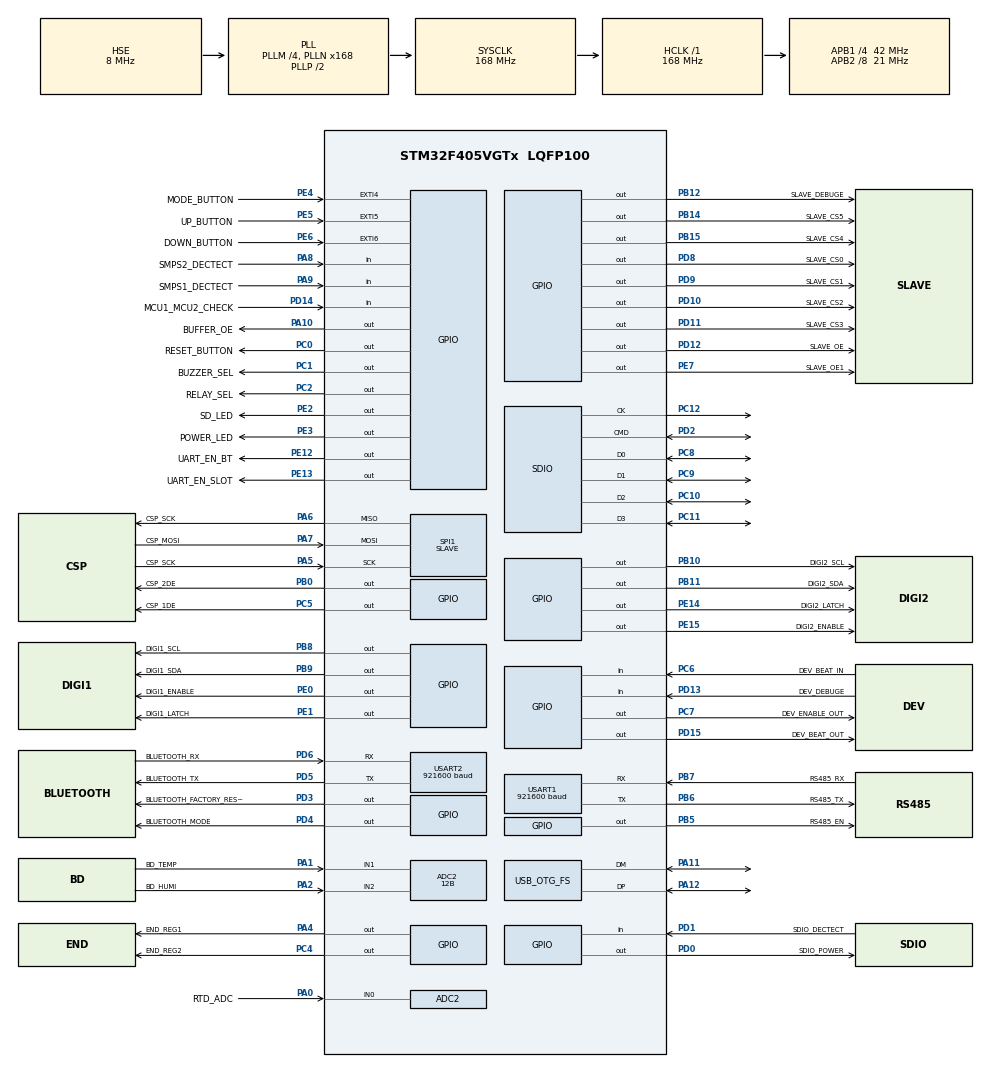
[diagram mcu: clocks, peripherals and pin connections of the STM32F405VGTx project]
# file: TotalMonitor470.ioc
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ADC1.Channel-0\#ChannelRegularConversion=ADC_CHANNEL_VBAT
ADC1.ClockPrescaler=ADC_CLOCK_SYNC_PCLK_DIV4
ADC1.ContinuousConvMode=ENABLE
ADC1.DMAContinuousRequests=ENABLE
ADC1.NbrOfConversion=1
ADC1.NbrOfConversionFlag=1
ADC1.Rank-0\#ChannelRegularConversion=1
ADC1.SamplingTime-0\#ChannelRegularConversion=ADC_SAMPLETIME_3CYCLES
ADC1.ScanConvMode=ENABLE
ADC1.master=1
ADC2.Channel-0\#ChannelRegularConversion=ADC_CHANNEL_0
ADC2.Channel-1\#ChannelRegularConversion=ADC_CHANNEL_1
ADC2.Channel-2\#ChannelRegularConversion=ADC_CHANNEL_2
ADC2.ClockPrescaler=ADC_CLOCK_SYNC_PCLK_DIV4
ADC2.ContinuousConvMode=ENABLE
ADC2.DMAContinuousRequests=ENABLE
ADC2.DataAlign=ADC_DATAALIGN_RIGHT
ADC2.DiscontinuousConvMode=DISABLE
ADC2.EOCSelection=ADC_EOC_SINGLE_CONV
ADC2.EnableAnalogWatchDog=false
ADC2.ExternalTrigConv=ADC_SOFTWARE_START
ADC2.ExternalTrigConvEdge=ADC_EXTERNALTRIGCONVEDGE_NONE
ADC2.InjNumberOfConversion=0
ADC2.NbrOfConversion=3
ADC2.NbrOfConversionFlag=1
ADC2.Rank-0\#ChannelRegularConversion=1
ADC2.Rank-1\#ChannelRegularConversion=2
ADC2.Rank-2\#ChannelRegularConversion=3
ADC2.Resolution=ADC_RESOLUTION_12B
ADC2.SamplingTime-0\#ChannelRegularConversion=ADC_SAMPLETIME_3CYCLES
ADC2.SamplingTime-1\#ChannelRegularConversion=ADC_SAMPLETIME_3CYCLES
ADC2.SamplingTime-2\#ChannelRegularConversion=ADC_SAMPLETIME_3CYCLES
ADC2.ScanConvMode=ENABLE
Dma.ADC1.0.Direction=DMA_PERIPH_TO_MEMORY
Dma.ADC1.0.FIFOMode=DMA_FIFOMODE_DISABLE
Dma.ADC1.0.Instance=DMA2_Stream0
Dma.ADC1.0.MemDataAlignment=DMA_MDATAALIGN_WORD
Dma.ADC1.0.MemInc=DMA_MINC_ENABLE
Dma.ADC1.0.Mode=DMA_NORMAL
Dma.ADC1.0.PeriphDataAlignment=DMA_PDATAALIGN_WORD
Dma.ADC1.0.PeriphInc=DMA_PINC_DISABLE
Dma.ADC1.0.Priority=DMA_PRIORITY_LOW
Dma.ADC2.1.Direction=DMA_PERIPH_TO_MEMORY
Dma.ADC2.1.FIFOMode=DMA_FIFOMODE_DISABLE
Dma.ADC2.1.Instance=DMA2_Stream2
Dma.ADC2.1.MemDataAlignment=DMA_MDATAALIGN_WORD
Dma.ADC2.1.MemInc=DMA_MINC_ENABLE
Dma.ADC2.1.Mode=DMA_CIRCULAR
Dma.ADC2.1.PeriphDataAlignment=DMA_PDATAALIGN_WORD
Dma.ADC2.1.PeriphInc=DMA_PINC_DISABLE
Dma.ADC2.1.Priority=DMA_PRIORITY_LOW
Dma.Request0=ADC1
Dma.Request1=ADC2
Dma.Request2=USART1_TX
Dma.Request3=USART2_RX
Dma.Request4=USART2_TX
Dma.Request5=USART1_RX
Dma.Request6=SDIO_RX
Dma.Request7=SDIO_TX
Dma.SDIO_RX.6.Direction=DMA_PERIPH_TO_MEMORY
Dma.SDIO_RX.6.FIFOMode=DMA_FIFOMODE_ENABLE
Dma.SDIO_RX.6.FIFOThreshold=DMA_FIFO_THRESHOLD_FULL
Dma.SDIO_RX.6.Instance=DMA2_Stream3
Dma.SDIO_RX.6.MemBurst=DMA_MBURST_INC4
Dma.SDIO_RX.6.MemDataAlignment=DMA_MDATAALIGN_WORD
Dma.SDIO_RX.6.MemInc=DMA_MINC_ENABLE
Dma.SDIO_RX.6.Mode=DMA_PFCTRL
Dma.SDIO_RX.6.PeriphBurst=DMA_PBURST_INC4
Dma.SDIO_RX.6.PeriphDataAlignment=DMA_PDATAALIGN_WORD
Dma.SDIO_RX.6.PeriphInc=DMA_PINC_DISABLE
Dma.SDIO_RX.6.Priority=DMA_PRIORITY_LOW
Dma.SDIO_TX.7.Direction=DMA_MEMORY_TO_PERIPH
Dma.SDIO_TX.7.FIFOMode=DMA_FIFOMODE_ENABLE
Dma.SDIO_TX.7.FIFOThreshold=DMA_FIFO_THRESHOLD_FULL
Dma.SDIO_TX.7.Instance=DMA2_Stream6
Dma.SDIO_TX.7.MemBurst=DMA_MBURST_INC4
Dma.SDIO_TX.7.MemDataAlignment=DMA_MDATAALIGN_WORD
Dma.SDIO_TX.7.MemInc=DMA_MINC_ENABLE
Dma.SDIO_TX.7.Mode=DMA_PFCTRL
Dma.SDIO_TX.7.PeriphBurst=DMA_PBURST_INC4
Dma.SDIO_TX.7.PeriphDataAlignment=DMA_PDATAALIGN_WORD
Dma.SDIO_TX.7.PeriphInc=DMA_PINC_DISABLE
Dma.SDIO_TX.7.Priority=DMA_PRIORITY_LOW
Dma.USART1_RX.5.Direction=DMA_PERIPH_TO_MEMORY
Dma.USART1_RX.5.FIFOMode=DMA_FIFOMODE_DISABLE
Dma.USART1_RX.5.Instance=DMA2_Stream5
Dma.USART1_RX.5.MemDataAlignment=DMA_MDATAALIGN_BYTE
Dma.USART1_RX.5.MemInc=DMA_MINC_ENABLE
Dma.USART1_RX.5.Mode=DMA_CIRCULAR
Dma.USART1_RX.5.PeriphDataAlignment=DMA_PDATAALIGN_BYTE
Dma.USART1_RX.5.PeriphInc=DMA_PINC_DISABLE
Dma.USART1_RX.5.Priority=DMA_PRIORITY_LOW
Dma.USART1_TX.2.Direction=DMA_MEMORY_TO_PERIPH
Dma.USART1_TX.2.FIFOMode=DMA_FIFOMODE_DISABLE
Dma.USART1_TX.2.Instance=DMA2_Stream7
Dma.USART1_TX.2.MemDataAlignment=DMA_MDATAALIGN_BYTE
Dma.USART1_TX.2.MemInc=DMA_MINC_ENABLE
Dma.USART1_TX.2.Mode=DMA_NORMAL
Dma.USART1_TX.2.PeriphDataAlignment=DMA_PDATAALIGN_BYTE
Dma.USART1_TX.2.PeriphInc=DMA_PINC_DISABLE
Dma.USART1_TX.2.Priority=DMA_PRIORITY_LOW
Dma.USART2_RX.3.Direction=DMA_PERIPH_TO_MEMORY
Dma.USART2_RX.3.FIFOMode=DMA_FIFOMODE_DISABLE
Dma.USART2_RX.3.Instance=DMA1_Stream5
Dma.USART2_RX.3.MemDataAlignment=DMA_MDATAALIGN_BYTE
Dma.USART2_RX.3.MemInc=DMA_MINC_ENABLE
Dma.USART2_RX.3.Mode=DMA_CIRCULAR
Dma.USART2_RX.3.PeriphDataAlignment=DMA_PDATAALIGN_BYTE
Dma.USART2_RX.3.PeriphInc=DMA_PINC_DISABLE
Dma.USART2_RX.3.Priority=DMA_PRIORITY_LOW
Dma.USART2_TX.4.Direction=DMA_MEMORY_TO_PERIPH
Dma.USART2_TX.4.FIFOMode=DMA_FIFOMODE_DISABLE
Dma.USART2_TX.4.Instance=DMA1_Stream6
Dma.USART2_TX.4.MemDataAlignment=DMA_MDATAALIGN_BYTE
Dma.USART2_TX.4.MemInc=DMA_MINC_ENABLE
Dma.USART2_TX.4.Mode=DMA_NORMAL
Dma.USART2_TX.4.PeriphDataAlignment=DMA_PDATAALIGN_BYTE
Dma.USART2_TX.4.PeriphInc=DMA_PINC_DISABLE
Dma.USART2_TX.4.Priority=DMA_PRIORITY_LOW
FATFS.BSP.number=1
FATFS._CODE_PAGE=949
FATFS._FS_EXFAT=1
FATFS._FS_LOCK=2
FATFS._FS_NORTC=0
FATFS._LFN_UNICODE=0
FATFS._MAX_SS=4096
FATFS._STRF_ENCODE=0
FATFS._USE_FASTSEEK=0
FATFS._USE_FIND=1
FATFS._USE_LFN=2
FATFS0.BSP.STBoard=false
FATFS0.BSP.api=Unknown
FATFS0.BSP.i2caddr=0
FATFS0.BSP.instance=PD1
FATFS0.BSP.ip=GPIO
FATFS0.BSP.mode=Input
FATFS0.BSP.name=Detect_SDIO
FATFS0.BSP.solution=PD1
FREERTOS.BinarySemaphores01=myBinarySemMode,Dynamic,NULL;myBinarySemUp,Dynamic,NULL;myBinarySemDown,Dynamic,NULL
FREERTOS.INCLUDE_vTaskDelayUntil=1
FREERTOS.Tasks01=InitTask,0,2048,init_task,Default,NULL,Dynamic,NULL,NULL
FREERTOS.configUSE_COUNTING_SEMAPHORES=1
FREERTOS.configUSE_IDLE_HOOK=1
FREERTOS.configUSE_MALLOC_FAILED_HOOK=1
FREERTOS.configUSE_TICK_HOOK=1
FREERTOS.configUSE_TIMERS=1
IWDG.Prescaler=IWDG_PRESCALER_64
Mcu.Family=STM32F4
Mcu.Name=STM32F405VGTx
Mcu.Package=LQFP100
NVIC.DMA1_Stream5_IRQn=true\:6\:0\:true\:false\:true\:true\:false\:true
NVIC.DMA1_Stream6_IRQn=true\:6\:0\:true\:false\:true\:true\:false\:true
NVIC.DMA2_Stream0_IRQn=true\:5\:0\:false\:false\:true\:true\:false\:true
NVIC.DMA2_Stream2_IRQn=true\:5\:0\:false\:false\:true\:true\:false\:true
NVIC.DMA2_Stream3_IRQn=true\:5\:0\:false\:false\:true\:true\:false\:true
NVIC.DMA2_Stream5_IRQn=true\:5\:0\:true\:false\:true\:true\:false\:true
NVIC.DMA2_Stream6_IRQn=true\:5\:0\:false\:false\:true\:true\:false\:true
NVIC.DMA2_Stream7_IRQn=true\:5\:0\:true\:false\:true\:true\:false\:true
NVIC.EXTI4_IRQn=true\:6\:0\:true\:false\:true\:true\:true\:true
NVIC.EXTI9_5_IRQn=true\:6\:0\:true\:false\:true\:true\:true\:true
NVIC.PriorityGroup=NVIC_PRIORITYGROUP_4
NVIC.SDIO_IRQn=true\:5\:0\:false\:false\:true\:true\:true\:true
NVIC.TIM1_UP_TIM10_IRQn=true\:0\:0\:false\:false\:true\:false\:false\:true
NVIC.TimeBase=TIM1_UP_TIM10_IRQn
NVIC.TimeBaseIP=TIM1
NVIC.USART1_IRQn=true\:5\:0\:true\:false\:true\:true\:true\:true
NVIC.USART2_IRQn=true\:6\:0\:true\:false\:true\:true\:true\:true
PA0-WKUP.GPIO_Label=RTD_ADC
PA0-WKUP.Signal=ADCx_IN0
PA1.GPIO_Label=BD_TEMP
PA1.Signal=ADCx_IN1
PA10.GPIO_Label=BUFFER_OE
PA10.Signal=GPIO_Output
PA11.Mode=Device_Only
PA11.Signal=USB_OTG_FS_DM
PA12.Mode=Device_Only
PA12.Signal=USB_OTG_FS_DP
PA13.Mode=JTAG_5_pins
PA13.Signal=SYS_JTMS-SWDIO
PA14.Mode=JTAG_5_pins
PA14.Signal=SYS_JTCK-SWCLK
PA15.Mode=JTAG_5_pins
PA15.Signal=SYS_JTDI
PA2.GPIO_Label=BD_HUMI
PA2.Signal=ADCx_IN2
PA4.GPIO_Label=END_REG1
PA4.Signal=GPIO_Output
PA5.GPIO_Label=CSP_SCK
PA5.Mode=Full_Duplex_Slave
PA5.Signal=SPI1_SCK
PA6.GPIO_Label=CSP_SCK
PA6.Mode=Full_Duplex_Slave
PA6.Signal=SPI1_MISO
PA7.GPIO_Label=CSP_MOSI
PA7.Mode=Full_Duplex_Slave
PA7.Signal=SPI1_MOSI
PA8.GPIO_Label=SMPS2_DECTECT
PA8.Signal=GPIO_Input
PA9.GPIO_Label=SMPS1_DECTECT
PA9.Signal=GPIO_Input
PB0.GPIO_Label=CSP_2DE
PB0.Signal=GPIO_Output
PB10.GPIO_Label=DIGI2_SCL
PB10.GPIO_PuPd=GPIO_PULLUP
PB10.Signal=GPIO_Output
PB11.GPIO_Label=DIGI2_SDA
PB11.GPIO_PuPd=GPIO_PULLUP
PB11.Signal=GPIO_Output
PB12.GPIO_Label=SLAVE_DEBUGE
PB12.PinState=GPIO_PIN_SET
PB12.Signal=GPIO_Output
PB14.GPIO_Label=SLAVE_CS5
PB14.GPIO_ModeDefaultOutputPP=GPIO_MODE_OUTPUT_PP
PB14.GPIO_PuPd=GPIO_NOPULL
PB14.GPIO_Speed=GPIO_SPEED_FREQ_VERY_HIGH
PB14.PinState=GPIO_PIN_RESET
PB14.Signal=GPIO_Output
PB15.GPIO_Label=SLAVE_CS4
PB15.GPIO_ModeDefaultOutputPP=GPIO_MODE_OUTPUT_PP
PB15.GPIO_PuPd=GPIO_NOPULL
PB15.GPIO_Speed=GPIO_SPEED_FREQ_VERY_HIGH
PB15.PinState=GPIO_PIN_RESET
PB15.Signal=GPIO_Output
PB3.Mode=JTAG_5_pins
PB3.Signal=SYS_JTDO-SWO
PB4.Mode=JTAG_5_pins
PB4.Signal=SYS_JTRST
PB5.GPIO_Label=RS485_EN
PB5.Signal=GPIO_Output
PB6.GPIO_Label=RS485_TX
PB6.Mode=Asynchronous
PB6.Signal=USART1_TX
PB7.GPIO_Label=RS485_RX
PB7.Mode=Asynchronous
PB7.Signal=USART1_RX
PB8.GPIO_Label=DIGI1_SCL
PB8.GPIO_ModeDefaultOutputPP=GPIO_MODE_OUTPUT_OD
PB8.GPIO_PuPd=GPIO_PULLUP
PB8.Signal=GPIO_Output
PB9.GPIO_Label=DIGI1_SDA
PB9.GPIO_ModeDefaultOutputPP=GPIO_MODE_OUTPUT_OD
PB9.GPIO_PuPd=GPIO_PULLUP
PB9.Signal=GPIO_Output
PC0.GPIO_Label=RESET_BUTTON
PC0.GPIO_ModeDefaultOutputPP=GPIO_MODE_OUTPUT_OD
PC0.PinState=GPIO_PIN_SET
PC0.Signal=GPIO_Output
PC1.GPIO_Label=BUZZER_SEL
PC1.Signal=GPIO_Output
PC10.Mode=SD_4_bits_Wide_bus
PC10.Signal=SDIO_D2
PC11.Mode=SD_4_bits_Wide_bus
PC11.Signal=SDIO_D3
PC12.Mode=SD_4_bits_Wide_bus
PC12.Signal=SDIO_CK
PC14-OSC32_IN.Mode=LSE-External-Oscillator
PC14-OSC32_IN.Signal=RCC_OSC32_IN
PC15-OSC32_OUT.Mode=LSE-External-Oscillator
PC15-OSC32_OUT.Signal=RCC_OSC32_OUT
PC2.GPIO_Label=RELAY_SEL
PC2.PinState=GPIO_PIN_SET
PC2.Signal=GPIO_Output
PC4.GPIO_Label=END_REG2
PC4.Signal=GPIO_Output
PC5.GPIO_Label=CSP_1DE
PC5.Signal=GPIO_Output
PC6.GPIO_Label=DEV_BEAT_IN
PC6.Signal=GPIO_Input
PC7.GPIO_Label=DEV_ENABLE_OUT
PC7.Signal=GPIO_Output
PC8.Mode=SD_4_bits_Wide_bus
PC8.Signal=SDIO_D0
PC9.Mode=SD_4_bits_Wide_bus
PC9.Signal=SDIO_D1
PD0.GPIO_Label=SDIO_POWER
PD0.GPIO_ModeDefaultOutputPP=GPIO_MODE_OUTPUT_OD
PD0.GPIO_PuPd=GPIO_PULLUP
PD0.GPIO_Speed=GPIO_SPEED_FREQ_VERY_HIGH
PD0.PinState=GPIO_PIN_SET
PD0.Signal=GPIO_Output
PD1.GPIO_Label=SDIO_DECTECT
PD1.Signal=GPIO_Input
PD10.GPIO_Label=SLAVE_CS2
PD10.GPIO_ModeDefaultOutputPP=GPIO_MODE_OUTPUT_PP
PD10.GPIO_PuPd=GPIO_NOPULL
PD10.GPIO_Speed=GPIO_SPEED_FREQ_VERY_HIGH
PD10.PinState=GPIO_PIN_RESET
PD10.Signal=GPIO_Output
PD11.GPIO_Label=SLAVE_CS3
PD11.GPIO_ModeDefaultOutputPP=GPIO_MODE_OUTPUT_PP
PD11.GPIO_PuPd=GPIO_NOPULL
PD11.GPIO_Speed=GPIO_SPEED_FREQ_VERY_HIGH
PD11.PinState=GPIO_PIN_RESET
PD11.Signal=GPIO_Output
PD12.GPIO_Label=SLAVE_OE
PD12.GPIO_ModeDefaultOutputPP=GPIO_MODE_OUTPUT_OD
PD12.GPIO_PuPd=GPIO_PULLUP
PD12.GPIO_Speed=GPIO_SPEED_FREQ_VERY_HIGH
PD12.Signal=GPIO_Output
PD13.GPIO_Label=DEV_DEBUGE
PD13.Signal=GPIO_Input
PD14.GPIO_Label=MCU1_MCU2_CHECK
PD14.Signal=GPIO_Input
PD15.GPIO_Label=DEV_BEAT_OUT
PD15.Signal=GPIO_Output
PD2.Mode=SD_4_bits_Wide_bus
PD2.Signal=SDIO_CMD
PD3.GPIO_Label=BLUETOOTH_FACTORY_RESET
PD3.Signal=GPIO_Output
PD4.GPIO_Label=BLUETOOTH_MODE
PD4.Signal=GPIO_Output
PD5.GPIO_Label=BLUETOOTH_TX
PD5.Mode=Asynchronous
PD5.Signal=USART2_TX
PD6.GPIO_Label=BLUETOOTH_RX
PD6.Mode=Asynchronous
PD6.Signal=USART2_RX
PD8.GPIO_Label=SLAVE_CS0
PD8.GPIO_ModeDefaultOutputPP=GPIO_MODE_OUTPUT_PP
PD8.GPIO_PuPd=GPIO_NOPULL
PD8.GPIO_Speed=GPIO_SPEED_FREQ_VERY_HIGH
PD8.PinState=GPIO_PIN_RESET
PD8.Signal=GPIO_Output
PD9.GPIO_Label=SLAVE_CS1
PD9.GPIO_ModeDefaultOutputPP=GPIO_MODE_OUTPUT_PP
PD9.GPIO_PuPd=GPIO_NOPULL
PD9.GPIO_Speed=GPIO_SPEED_FREQ_VERY_HIGH
PD9.PinState=GPIO_PIN_RESET
PD9.Signal=GPIO_Output
PE0.GPIO_Label=DIGI1_ENABLE
PE0.GPIO_ModeDefaultOutputPP=GPIO_MODE_OUTPUT_OD
PE0.Signal=GPIO_Output
PE1.GPIO_Label=DIGI1_LATCH
PE1.Signal=GPIO_Output
PE12.GPIO_Label=UART_EN_BT
PE12.GPIO_ModeDefaultOutputPP=GPIO_MODE_OUTPUT_OD
PE12.GPIO_PuPd=GPIO_PULLUP
PE12.GPIO_Speed=GPIO_SPEED_FREQ_VERY_HIGH
PE12.Signal=GPIO_Output
PE13.GPIO_Label=UART_EN_SLOT
PE13.GPIO_ModeDefaultOutputPP=GPIO_MODE_OUTPUT_OD
PE13.GPIO_PuPd=GPIO_PULLUP
PE13.GPIO_Speed=GPIO_SPEED_FREQ_VERY_HIGH
PE13.Signal=GPIO_Output
PE14.GPIO_Label=DIGI2_LATCH
PE14.Signal=GPIO_Output
PE15.GPIO_Label=DIGI2_ENABLE
PE15.GPIO_ModeDefaultOutputPP=GPIO_MODE_OUTPUT_OD
PE15.Signal=GPIO_Output
PE2.GPIO_Label=SD_LED
PE2.Signal=GPIO_Output
PE3.GPIO_Label=POWER_LED
PE3.Signal=GPIO_Output
PE4.GPIO_Label=MODE_BUTTON
PE4.GPIO_ModeDefaultEXTI=GPIO_MODE_IT_FALLING
PE4.Signal=GPXTI4
PE5.GPIO_Label=UP_BUTTON
PE5.GPIO_ModeDefaultEXTI=GPIO_MODE_IT_RISING
PE5.Signal=GPXTI5
PE6.GPIO_Label=DOWN_BUTTON
PE6.Signal=GPXTI6
PE7.GPIO_Label=SLAVE_OE1
PE7.GPIO_ModeDefaultOutputPP=GPIO_MODE_OUTPUT_OD
PE7.GPIO_PuPd=GPIO_PULLUP
PE7.GPIO_Speed=GPIO_SPEED_FREQ_VERY_HIGH
PE7.PinState=GPIO_PIN_RESET
PE7.Signal=GPIO_Output
PH0-OSC_IN.Mode=HSE-External-Oscillator
PH0-OSC_IN.Signal=RCC_OSC_IN
PH1-OSC_OUT.Mode=HSE-External-Oscillator
PH1-OSC_OUT.Signal=RCC_OSC_OUT
ProjectManager.HeapSize=0x200
ProjectManager.StackSize=0x400
ProjectManager.TargetToolchain=Makefile
RCC.48MHZClocksFreq_Value=48000000
RCC.AHBFreq_Value=168000000
RCC.APB1CLKDivider=RCC_HCLK_DIV4
RCC.APB1Freq_Value=42000000
RCC.APB1TimFreq_Value=84000000
RCC.APB2CLKDivider=RCC_HCLK_DIV8
RCC.APB2Freq_Value=21000000
RCC.APB2TimFreq_Value=42000000
RCC.CortexFreq_Value=168000000
RCC.HCLKFreq_Value=168000000
RCC.HSE_VALUE=8000000
RCC.HSI_VALUE=16000000
RCC.PLLM=4
RCC.PLLN=168
RCC.PLLQ=7
RCC.RCC_RTC_Clock_Source=RCC_RTCCLKSOURCE_LSE
RCC.RCC_RTC_Clock_SourceVirtual=RCC_RTCCLKSOURCE_LSE
RCC.SYSCLKFreq_VALUE=168000000
RCC.SYSCLKSource=RCC_SYSCLKSOURCE_PLLCLK
RCC.VCOOutputFreq_Value=336000000
RTC.Format=RTC_FORMAT_BIN
RTC.WeekDay=RTC_WEEKDAY_TUESDAY
RTC.Year=19
SDIO.HardwareFlowControl=SDIO_HARDWARE_FLOW_CONTROL_DISABLE
SH.ADCx_IN0.0=ADC2_IN0,IN0
SH.ADCx_IN1.0=ADC2_IN1,IN1
SH.ADCx_IN2.0=ADC2_IN2,IN2
SPI1.Direction=SPI_DIRECTION_2LINES
SPI1.Mode=SPI_MODE_SLAVE
SPI1.VirtualType=VM_SLAVE
USART1.BaudRate=921600
USART1.VirtualMode=VM_ASYNC
USART2.BaudRate=921600
USART2.VirtualMode=VM_ASYNC
USB_OTG_FS.VirtualMode=Device_Only
VP_ADC1_Vbat_Input.Mode=IN-Vbat
VP_FATFS_VS_SDIO.Mode=SDIO
VP_FREERTOS_VS_CMSIS_V1.Mode=CMSIS_V1
VP_IWDG_VS_IWDG.Mode=IWDG_Activate
VP_RTC_VS_RTC_Activate.Mode=RTC_Enabled
VP_RTC_VS_RTC_Calendar.Mode=RTC_Calendar
VP_SYS_VS_tim1.Mode=TIM1
board=custom

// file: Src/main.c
/* USER CODE BEGIN Header */
/**
  ******************************************************************************
  * @file           : main.c
  * @brief          : Main program body
  ******************************************************************************
  * @attention
  *
  * <h2><center>&copy; Copyright (c) 2019 STMicroelectronics.
  * All rights reserved.</center></h2>
  *
  * This software component is licensed by ST under Ultimate Liberty license
  * SLA0044, the "License"; You may not use this file except in compliance with
  * the License. You may obtain a copy of the License at:
  *                             www.st.com/SLA0044
  *
  ******************************************************************************
  */
/* USER CODE END Header */

#include "main.h"
#include "cmsis_os.h"
#include "fatfs.h"

/* USER CODE BEGIN Includes */
#include "app_ctx.h"
#include "0_GlobalValue.h"
#include "0_StartDisplayTask.h"
#include "job_task.h"
#include "internal_job_task.h"
#include "fs_task.h"
#include "internal_uart_task.h"
#include "external_uart_task.h"
#include "app_task.h"
#include "0_StartRateTask.h"
#include "0_soonFlashMemory.h"
#include "debug.h"

#include <stdio.h>
/* USER CODE END Includes */

ADC_HandleTypeDef hadc1;
ADC_HandleTypeDef hadc2;
DMA_HandleTypeDef hdma_adc1;
DMA_HandleTypeDef hdma_adc2;

IWDG_HandleTypeDef hiwdg;

RTC_HandleTypeDef hrtc;

SD_HandleTypeDef hsd;
DMA_HandleTypeDef hdma_sdio_rx;
DMA_HandleTypeDef hdma_sdio_tx;

SPI_HandleTypeDef hspi1;

UART_HandleTypeDef huart1;
UART_HandleTypeDef huart2;
DMA_HandleTypeDef hdma_usart1_tx;
DMA_HandleTypeDef hdma_usart1_rx;
DMA_HandleTypeDef hdma_usart2_rx;
DMA_HandleTypeDef hdma_usart2_tx;

PCD_HandleTypeDef hpcd_USB_OTG_FS;

osThreadId init_task_id;
osSemaphoreId myBinarySemModeHandle;
osSemaphoreId myBinarySemUpHandle;
osSemaphoreId myBinarySemDownHandle;
/* USER CODE BEGIN PV */
/* Private variables ---------------------------------------------------------*/
SYSTEM_STRUCT SysProperties;
app_ctx_t ctx;
SYSTEM_TIME SysTime;
SD_CARD_VALUE	sdValue;
osThreadId init_task_id;

/* osThreadId JobTaskHandle; */
uint32_t JobTaskBuffer[256];
osStaticThreadDef_t JobTaskControlBlock;

uint32_t InternalJobTaskBuffer[256];
osStaticThreadDef_t InternalJobTaskControlBlock;

uint32_t FSTaskBuffer[1024];
osStaticThreadDef_t FSTaskControlBlock;

uint32_t DisplayTaskBuffer[256];
osStaticThreadDef_t DisplayTaskControlBlock;

uint32_t InternalRxTaskBuffer[256];
osStaticThreadDef_t InternalRxTaskControlBlock;

uint32_t AppTaskBuffer[256];
osStaticThreadDef_t AppTaskControlBlock;

uint32_t ExternalRxTaskBuffer[512];
osStaticThreadDef_t ExternalRxControlBlock;
/* USER CODE END PV */

void SystemClock_Config(void);
static void MX_GPIO_Init(void);
static void MX_DMA_Init(void);
static void MX_ADC1_Init(void);
static void MX_ADC2_Init(void);
static void MX_RTC_Init(void);
static void MX_SDIO_SD_Init(void);
static void MX_SPI1_Init(void);
static void MX_USART1_UART_Init(void);
static void MX_USART2_UART_Init(void);
static void MX_USB_OTG_FS_PCD_Init(void);
static void MX_IWDG_Init(void);
void init_task(void const * argument);

/* USER CODE BEGIN PFP */
/* Private function prototypes -----------------------------------------------*/

/* USER CODE END PFP */

int main(void)
{
  /* USER CODE BEGIN 1 */
  uint32_t read = 0;

  /* USER CODE END 1 */

  /* MCU Configuration--------------------------------------------------------*/

  /* Reset of all peripherals, Initializes the Flash interface and the Systick. */
  HAL_Init();

  /* Configure the system clock */
  SystemClock_Config();

  /* Initialize all configured peripherals */
  MX_GPIO_Init();
  MX_DMA_Init();
  MX_ADC1_Init();
  MX_ADC2_Init();
  MX_RTC_Init();
  MX_SDIO_SD_Init();
  MX_SPI1_Init();
  MX_USART1_UART_Init();
  MX_USART2_UART_Init();
  MX_FATFS_Init();
  MX_USB_OTG_FS_PCD_Init();
  MX_IWDG_Init();
  /* USER CODE BEGIN 2 */

  /* Check if system reset is caused by IWDG */
  if (__HAL_RCC_GET_FLAG(RCC_FLAG_IWDGRST) == SET) {
      __HAL_RCC_CLEAR_RESET_FLAGS();
      DBG_LOG("System reset caused by watchdog.\n");
  }

  SysProperties.displayMode = DPM_NORMAL;

  SysProperties.interval_ms = 1000;
  SysProperties.start_flag = FALSE;

  read = ReadFlash(FLASH_SAVE_CHK);

  if (read != FLASH_SAVE_FLAG) { // 플래시에 기록이 없을경우
	  ctx.rtd.calibration_const = 0.f;
	  doFlashWriteRevision(ctx.rtd.calibration_const);
  }
  else {			// Flash 에 저장된 값이 揚獵? 경우
	  ctx.rtd.calibration_const = ReadFlash(FLASH_RTD_CALIBRATION_CONSTAN);
  }

  HAL_GPIO_WritePin(SLAVE_CS0_GPIO_Port, SLAVE_CS0_Pin, GPIO_PIN_RESET);
  HAL_GPIO_WritePin(SLAVE_CS1_GPIO_Port, SLAVE_CS1_Pin, GPIO_PIN_RESET);
  HAL_GPIO_WritePin(SLAVE_CS2_GPIO_Port, SLAVE_CS2_Pin, GPIO_PIN_RESET);
  HAL_GPIO_WritePin(SLAVE_CS3_GPIO_Port, SLAVE_CS3_Pin, GPIO_PIN_RESET);
  HAL_GPIO_WritePin(SLAVE_CS4_GPIO_Port, SLAVE_CS4_Pin, GPIO_PIN_RESET);
  HAL_GPIO_WritePin(SLAVE_CS5_GPIO_Port, SLAVE_CS5_Pin, GPIO_PIN_RESET);

  SysProperties.mcuUUID[0].UI32 = HAL_GetUIDw0();
  SysProperties.mcuUUID[1].UI32 = HAL_GetUIDw1();
  SysProperties.mcuUUID[2].UI32 = HAL_GetUIDw2();

  HAL_Delay(5);
  /* USER CODE END 2 */

  /* Create the semaphores(s) */
  /* definition and creation of myBinarySemMode */
  osSemaphoreDef(myBinarySemMode);
  myBinarySemModeHandle = osSemaphoreCreate(osSemaphore(myBinarySemMode), 1);

  /* definition and creation of myBinarySemUp */
  osSemaphoreDef(myBinarySemUp);
  myBinarySemUpHandle = osSemaphoreCreate(osSemaphore(myBinarySemUp), 1);

  /* definition and creation of myBinarySemDown */
  osSemaphoreDef(myBinarySemDown);
  myBinarySemDownHandle = osSemaphoreCreate(osSemaphore(myBinarySemDown), 1);

  /* Create the thread(s) */
  osThreadDef(InitTask, init_task, osPriorityNormal, 0, 1024 + 1024);
  init_task_id = osThreadCreate(osThread(InitTask), NULL);

  /* HAL_IWDG_Refresh(&hiwdg); */
  /* USER CODE END RTOS_THREADS */

  /* Start scheduler */
  osKernelStart();

  /* We should never get here as control is now taken by the scheduler */

  /* Infinite loop */
	while (1)
	{

	}
}

void SystemClock_Config(void)
{
  RCC_OscInitTypeDef RCC_OscInitStruct = {0};
  RCC_ClkInitTypeDef RCC_ClkInitStruct = {0};
  RCC_PeriphCLKInitTypeDef PeriphClkInitStruct = {0};

  /** Configure the main internal regulator output voltage
  */
  __HAL_RCC_PWR_CLK_ENABLE();
  __HAL_PWR_VOLTAGESCALING_CONFIG(PWR_REGULATOR_VOLTAGE_SCALE1);
  /** Initializes the CPU, AHB and APB busses clocks
  */
  RCC_OscInitStruct.OscillatorType = RCC_OSCILLATORTYPE_LSI|RCC_OSCILLATORTYPE_HSE
                              |RCC_OSCILLATORTYPE_LSE;
  RCC_OscInitStruct.HSEState = RCC_HSE_ON;
  RCC_OscInitStruct.LSEState = RCC_LSE_ON;
  RCC_OscInitStruct.LSIState = RCC_LSI_ON;
  RCC_OscInitStruct.PLL.PLLState = RCC_PLL_ON;
  RCC_OscInitStruct.PLL.PLLSource = RCC_PLLSOURCE_HSE;
  RCC_OscInitStruct.PLL.PLLM = 4;
  RCC_OscInitStruct.PLL.PLLN = 168;
  RCC_OscInitStruct.PLL.PLLP = RCC_PLLP_DIV2;
  RCC_OscInitStruct.PLL.PLLQ = 7;
  if (HAL_RCC_OscConfig(&RCC_OscInitStruct) != HAL_OK)
  {
    Error_Handler();
  }
  /** Initializes the CPU, AHB and APB busses clocks
  */
  RCC_ClkInitStruct.ClockType = RCC_CLOCKTYPE_HCLK|RCC_CLOCKTYPE_SYSCLK
                              |RCC_CLOCKTYPE_PCLK1|RCC_CLOCKTYPE_PCLK2;
  RCC_ClkInitStruct.SYSCLKSource = RCC_SYSCLKSOURCE_PLLCLK;
  RCC_ClkInitStruct.AHBCLKDivider = RCC_SYSCLK_DIV1;
  RCC_ClkInitStruct.APB1CLKDivider = RCC_HCLK_DIV4;
  RCC_ClkInitStruct.APB2CLKDivider = RCC_HCLK_DIV8;

  if (HAL_RCC_ClockConfig(&RCC_ClkInitStruct, FLASH_LATENCY_5) != HAL_OK)
  {
    Error_Handler();
  }
  PeriphClkInitStruct.PeriphClockSelection = RCC_PERIPHCLK_RTC;
  PeriphClkInitStruct.RTCClockSelection = RCC_RTCCLKSOURCE_LSE;
  if (HAL_RCCEx_PeriphCLKConfig(&PeriphClkInitStruct) != HAL_OK)
  {
    Error_Handler();
  }
}

static void MX_ADC1_Init(void)
{

  ADC_ChannelConfTypeDef sConfig = {0};

  /** Configure the global features of the ADC (Clock, Resolution, Data Alignment and number of conversion)
  */
  hadc1.Instance = ADC1;
  hadc1.Init.ClockPrescaler = ADC_CLOCK_SYNC_PCLK_DIV4;
  hadc1.Init.Resolution = ADC_RESOLUTION_12B;
  hadc1.Init.ScanConvMode = ENABLE;
  hadc1.Init.ContinuousConvMode = ENABLE;
  hadc1.Init.DiscontinuousConvMode = DISABLE;
  hadc1.Init.ExternalTrigConvEdge = ADC_EXTERNALTRIGCONVEDGE_NONE;
  hadc1.Init.ExternalTrigConv = ADC_SOFTWARE_START;
  hadc1.Init.DataAlign = ADC_DATAALIGN_RIGHT;
  hadc1.Init.NbrOfConversion = 1;
  hadc1.Init.DMAContinuousRequests = ENABLE;
  hadc1.Init.EOCSelection = ADC_EOC_SINGLE_CONV;
  if (HAL_ADC_Init(&hadc1) != HAL_OK)
  {
    Error_Handler();
  }
  /** Configure for the selected ADC regular channel its corresponding rank in the sequencer and its sample time.
  */
  sConfig.Channel = ADC_CHANNEL_VBAT;
  sConfig.Rank = 1;
  sConfig.SamplingTime = ADC_SAMPLETIME_3CYCLES;
  if (HAL_ADC_ConfigChannel(&hadc1, &sConfig) != HAL_OK)
  {
    Error_Handler();
  }

}

static void MX_ADC2_Init(void)
{

  ADC_ChannelConfTypeDef sConfig = {0};

  /** Configure the global features of the ADC (Clock, Resolution, Data Alignment and number of conversion)
  */
  hadc2.Instance = ADC2;
  hadc2.Init.ClockPrescaler = ADC_CLOCK_SYNC_PCLK_DIV4;
  hadc2.Init.Resolution = ADC_RESOLUTION_12B;
  hadc2.Init.ScanConvMode = ENABLE;
  hadc2.Init.ContinuousConvMode = ENABLE;
  hadc2.Init.DiscontinuousConvMode = DISABLE;
  hadc2.Init.ExternalTrigConvEdge = ADC_EXTERNALTRIGCONVEDGE_NONE;
  hadc2.Init.ExternalTrigConv = ADC_SOFTWARE_START;
  hadc2.Init.DataAlign = ADC_DATAALIGN_RIGHT;
  hadc2.Init.NbrOfConversion = 3;
  hadc2.Init.DMAContinuousRequests = ENABLE;
  hadc2.Init.EOCSelection = ADC_EOC_SINGLE_CONV;
  if (HAL_ADC_Init(&hadc2) != HAL_OK)
  {
    Error_Handler();
  }
  /** Configure for the selected ADC regular channel its corresponding rank in the sequencer and its sample time.
  */
  sConfig.Channel = ADC_CHANNEL_0;
  sConfig.Rank = 1;
  sConfig.SamplingTime = ADC_SAMPLETIME_3CYCLES;
  if (HAL_ADC_ConfigChannel(&hadc2, &sConfig) != HAL_OK)
  {
    Error_Handler();
  }
  /** Configure for the selected ADC regular channel its corresponding rank in the sequencer and its sample time.
  */
  sConfig.Channel = ADC_CHANNEL_1;
  sConfig.Rank = 2;
  if (HAL_ADC_ConfigChannel(&hadc2, &sConfig) != HAL_OK)
  {
    Error_Handler();
  }
  /** Configure for the selected ADC regular channel its corresponding rank in the sequencer and its sample time.
  */
  sConfig.Channel = ADC_CHANNEL_2;
  sConfig.Rank = 3;
  if (HAL_ADC_ConfigChannel(&hadc2, &sConfig) != HAL_OK)
  {
    Error_Handler();
  }

}

static void MX_IWDG_Init(void)
{

  hiwdg.Instance = IWDG;
  hiwdg.Init.Prescaler = IWDG_PRESCALER_64;
  hiwdg.Init.Reload = 4095;
  if (HAL_IWDG_Init(&hiwdg) != HAL_OK)
  {
    Error_Handler();
  }

}

static void MX_RTC_Init(void)
{

  RTC_TimeTypeDef sTime = {0};
  RTC_DateTypeDef sDate = {0};

  /** Initialize RTC Only
  */
  hrtc.Instance = RTC;
  hrtc.Init.HourFormat = RTC_HOURFORMAT_24;
  hrtc.Init.AsynchPrediv = 127;
  hrtc.Init.SynchPrediv = 255;
  hrtc.Init.OutPut = RTC_OUTPUT_DISABLE;
  hrtc.Init.OutPutPolarity = RTC_OUTPUT_POLARITY_HIGH;
  hrtc.Init.OutPutType = RTC_OUTPUT_TYPE_OPENDRAIN;
  if (HAL_RTC_Init(&hrtc) != HAL_OK)
  {
    Error_Handler();
  }

  /* USER CODE BEGIN Check_RTC_BKUP */
	if(HAL_RTCEx_BKUPRead(&hrtc, RTC_BKP_DR0) != 0x32F2)
	{
  /* USER CODE END Check_RTC_BKUP */

  /** Initialize RTC and set the Time and Date
  */
  sTime.Hours = 0;
  sTime.Minutes = 0;
  sTime.Seconds = 0;
  sTime.DayLightSaving = RTC_DAYLIGHTSAVING_NONE;
  sTime.StoreOperation = RTC_STOREOPERATION_RESET;
  if (HAL_RTC_SetTime(&hrtc, &sTime, RTC_FORMAT_BIN) != HAL_OK)
  {
    Error_Handler();
  }
  sDate.WeekDay = RTC_WEEKDAY_TUESDAY;
  sDate.Month = RTC_MONTH_JANUARY;
  sDate.Date = 1;
  sDate.Year = 19;

  if (HAL_RTC_SetDate(&hrtc, &sDate, RTC_FORMAT_BIN) != HAL_OK)
  {
    Error_Handler();
  }
  /** Enable the TimeStamp
  */
  if (HAL_RTCEx_SetTimeStamp(&hrtc, RTC_TIMESTAMPEDGE_RISING, RTC_TIMESTAMPPIN_DEFAULT) != HAL_OK)
  {
    Error_Handler();
  }
  /* USER CODE BEGIN RTC_Init 2 */
		HAL_RTCEx_BKUPWrite(&hrtc, RTC_BKP_DR0, 0x32F2);
	}

  /* USER CODE END RTC_Init 2 */

}

static void MX_SDIO_SD_Init(void)
{

  hsd.Instance = SDIO;
  hsd.Init.ClockEdge = SDIO_CLOCK_EDGE_RISING;
  hsd.Init.ClockBypass = SDIO_CLOCK_BYPASS_DISABLE;
  hsd.Init.ClockPowerSave = SDIO_CLOCK_POWER_SAVE_DISABLE;
  hsd.Init.BusWide = SDIO_BUS_WIDE_1B;
  hsd.Init.HardwareFlowControl = SDIO_HARDWARE_FLOW_CONTROL_DISABLE;
  hsd.Init.ClockDiv = 0;

}

static void MX_SPI1_Init(void)
{

  /* SPI1 parameter configuration*/
  hspi1.Instance = SPI1;
  hspi1.Init.Mode = SPI_MODE_SLAVE;
  hspi1.Init.Direction = SPI_DIRECTION_2LINES;
  hspi1.Init.DataSize = SPI_DATASIZE_8BIT;
  hspi1.Init.CLKPolarity = SPI_POLARITY_LOW;
  hspi1.Init.CLKPhase = SPI_PHASE_1EDGE;
  hspi1.Init.NSS = SPI_NSS_SOFT;
  hspi1.Init.FirstBit = SPI_FIRSTBIT_MSB;
  hspi1.Init.TIMode = SPI_TIMODE_DISABLE;
  hspi1.Init.CRCCalculation = SPI_CRCCALCULATION_DISABLE;
  hspi1.Init.CRCPolynomial = 10;
  if (HAL_SPI_Init(&hspi1) != HAL_OK)
  {
    Error_Handler();
  }

}

static void MX_USART1_UART_Init(void)
{

  huart1.Instance = USART1;
  huart1.Init.BaudRate = 921600;
  huart1.Init.WordLength = UART_WORDLENGTH_8B;
  huart1.Init.StopBits = UART_STOPBITS_1;
  huart1.Init.Parity = UART_PARITY_NONE;
  huart1.Init.Mode = UART_MODE_TX_RX;
  huart1.Init.HwFlowCtl = UART_HWCONTROL_NONE;
  huart1.Init.OverSampling = UART_OVERSAMPLING_16;
  if (HAL_UART_Init(&huart1) != HAL_OK)
  {
    Error_Handler();
  }
  /* USER CODE BEGIN USART1_Init 2 */
  USART_TypeDef *regs = huart1.Instance;
  SET_BIT(regs->CR1, USART_CR1_IDLEIE);
  /* USER CODE END USART1_Init 2 */

}

static void MX_USART2_UART_Init(void)
{

  huart2.Instance = USART2;
  huart2.Init.BaudRate = 921600;
  huart2.Init.WordLength = UART_WORDLENGTH_8B;
  huart2.Init.StopBits = UART_STOPBITS_1;
  huart2.Init.Parity = UART_PARITY_NONE;
  huart2.Init.Mode = UART_MODE_TX_RX;
  huart2.Init.HwFlowCtl = UART_HWCONTROL_NONE;
  huart2.Init.OverSampling = UART_OVERSAMPLING_16;
  if (HAL_UART_Init(&huart2) != HAL_OK)
  {
    Error_Handler();
  }
  /* USER CODE BEGIN USART2_Init 2 */
  USART_TypeDef *regs = huart2.Instance;
  SET_BIT(regs->CR1, USART_CR1_IDLEIE);
  /* USER CODE END USART2_Init 2 */

}

static void MX_USB_OTG_FS_PCD_Init(void)
{

  hpcd_USB_OTG_FS.Instance = USB_OTG_FS;
  hpcd_USB_OTG_FS.Init.dev_endpoints = 4;
  hpcd_USB_OTG_FS.Init.speed = PCD_SPEED_FULL;
  hpcd_USB_OTG_FS.Init.dma_enable = DISABLE;
  hpcd_USB_OTG_FS.Init.phy_itface = PCD_PHY_EMBEDDED;
  hpcd_USB_OTG_FS.Init.Sof_enable = DISABLE;
  hpcd_USB_OTG_FS.Init.low_power_enable = DISABLE;
  hpcd_USB_OTG_FS.Init.lpm_enable = DISABLE;
  hpcd_USB_OTG_FS.Init.vbus_sensing_enable = DISABLE;
  hpcd_USB_OTG_FS.Init.use_dedicated_ep1 = DISABLE;
  if (HAL_PCD_Init(&hpcd_USB_OTG_FS) != HAL_OK)
  {
    Error_Handler();
  }

}

static void MX_DMA_Init(void)
{

  /* DMA controller clock enable */
  __HAL_RCC_DMA2_CLK_ENABLE();
  __HAL_RCC_DMA1_CLK_ENABLE();

  /* DMA interrupt init */
  /* DMA1_Stream5_IRQn interrupt configuration */
  HAL_NVIC_SetPriority(DMA1_Stream5_IRQn, 6, 0);
  HAL_NVIC_EnableIRQ(DMA1_Stream5_IRQn);
  /* DMA1_Stream6_IRQn interrupt configuration */
  HAL_NVIC_SetPriority(DMA1_Stream6_IRQn, 6, 0);
  HAL_NVIC_EnableIRQ(DMA1_Stream6_IRQn);
  /* DMA2_Stream0_IRQn interrupt configuration */
  HAL_NVIC_SetPriority(DMA2_Stream0_IRQn, 5, 0);
  HAL_NVIC_EnableIRQ(DMA2_Stream0_IRQn);
  /* DMA2_Stream2_IRQn interrupt configuration */
  HAL_NVIC_SetPriority(DMA2_Stream2_IRQn, 5, 0);
  HAL_NVIC_EnableIRQ(DMA2_Stream2_IRQn);
  /* DMA2_Stream3_IRQn interrupt configuration */
  HAL_NVIC_SetPriority(DMA2_Stream3_IRQn, 5, 0);
  HAL_NVIC_EnableIRQ(DMA2_Stream3_IRQn);
  /* DMA2_Stream5_IRQn interrupt configuration */
  HAL_NVIC_SetPriority(DMA2_Stream5_IRQn, 5, 0);
  HAL_NVIC_EnableIRQ(DMA2_Stream5_IRQn);
  /* DMA2_Stream6_IRQn interrupt configuration */
  HAL_NVIC_SetPriority(DMA2_Stream6_IRQn, 5, 0);
  HAL_NVIC_EnableIRQ(DMA2_Stream6_IRQn);
  /* DMA2_Stream7_IRQn interrupt configuration */
  HAL_NVIC_SetPriority(DMA2_Stream7_IRQn, 5, 0);
  HAL_NVIC_EnableIRQ(DMA2_Stream7_IRQn);

}

static void MX_GPIO_Init(void)
{
  GPIO_InitTypeDef GPIO_InitStruct = {0};

  /* GPIO Ports Clock Enable */
  __HAL_RCC_GPIOE_CLK_ENABLE();
  __HAL_RCC_GPIOC_CLK_ENABLE();
  __HAL_RCC_GPIOH_CLK_ENABLE();
  __HAL_RCC_GPIOA_CLK_ENABLE();
  __HAL_RCC_GPIOB_CLK_ENABLE();
  __HAL_RCC_GPIOD_CLK_ENABLE();

  /*Configure GPIO pin Output Level */
  HAL_GPIO_WritePin(GPIOE, SD_LED_Pin|POWER_LED_Pin|SLAVE_OE1_Pin|UART_EN_BT_Pin
                          |UART_EN_SLOT_Pin|DIGI2_LATCH_Pin|DIGI2_ENABLE_Pin|DIGI1_ENABLE_Pin
                          |DIGI1_LATCH_Pin, GPIO_PIN_RESET);

  /*Configure GPIO pin Output Level */
  HAL_GPIO_WritePin(GPIOC, RESET_BUTTON_Pin|RELAY_SEL_Pin, GPIO_PIN_SET);

  /*Configure GPIO pin Output Level */
  HAL_GPIO_WritePin(GPIOC, BUZZER_SEL_Pin|END_REG2_Pin|CSP_1DE_Pin|DEV_ENABLE_OUT_Pin, GPIO_PIN_RESET);

  /*Configure GPIO pin Output Level */
  HAL_GPIO_WritePin(GPIOA, END_REG1_Pin|BUFFER_OE_Pin, GPIO_PIN_RESET);

  /*Configure GPIO pin Output Level */
  HAL_GPIO_WritePin(GPIOB, CSP_2DE_Pin|DIGI2_SCL_Pin|DIGI2_SDA_Pin|SLAVE_CS5_Pin
                          |SLAVE_CS4_Pin|RS485_EN_Pin|DIGI1_SCL_Pin|DIGI1_SDA_Pin, GPIO_PIN_RESET);

  /*Configure GPIO pin Output Level */
  HAL_GPIO_WritePin(SLAVE_DEBUGE_GPIO_Port, SLAVE_DEBUGE_Pin, GPIO_PIN_SET);

  /*Configure GPIO pin Output Level */
  HAL_GPIO_WritePin(GPIOD, SLAVE_CS0_Pin|SLAVE_CS1_Pin|SLAVE_CS2_Pin|SLAVE_CS3_Pin
                          |SLAVE_OE_Pin|DEV_BEAT_OUT_Pin|BLUETOOTH_FACTORY_RESET_Pin|BLUETOOTH_MODE_Pin, GPIO_PIN_RESET);

  /*Configure GPIO pin Output Level */
  HAL_GPIO_WritePin(SDIO_POWER_GPIO_Port, SDIO_POWER_Pin, GPIO_PIN_SET);

  /*Configure GPIO pins : SD_LED_Pin POWER_LED_Pin DIGI2_LATCH_Pin DIGI1_LATCH_Pin */
  GPIO_InitStruct.Pin = SD_LED_Pin|POWER_LED_Pin|DIGI2_LATCH_Pin|DIGI1_LATCH_Pin;
  GPIO_InitStruct.Mode = GPIO_MODE_OUTPUT_PP;
  GPIO_InitStruct.Pull = GPIO_NOPULL;
  GPIO_InitStruct.Speed = GPIO_SPEED_FREQ_LOW;
  HAL_GPIO_Init(GPIOE, &GPIO_InitStruct);

  /*Configure GPIO pin : MODE_BUTTON_Pin */
  GPIO_InitStruct.Pin = MODE_BUTTON_Pin;
  GPIO_InitStruct.Mode = GPIO_MODE_IT_FALLING;
  GPIO_InitStruct.Pull = GPIO_NOPULL;
  HAL_GPIO_Init(MODE_BUTTON_GPIO_Port, &GPIO_InitStruct);

  /*Configure GPIO pins : UP_BUTTON_Pin DOWN_BUTTON_Pin */
  GPIO_InitStruct.Pin = UP_BUTTON_Pin|DOWN_BUTTON_Pin;
  GPIO_InitStruct.Mode = GPIO_MODE_IT_RISING;
  GPIO_InitStruct.Pull = GPIO_NOPULL;
  HAL_GPIO_Init(GPIOE, &GPIO_InitStruct);

  /*Configure GPIO pin : RESET_BUTTON_Pin */
  GPIO_InitStruct.Pin = RESET_BUTTON_Pin;
  GPIO_InitStruct.Mode = GPIO_MODE_OUTPUT_OD;
  GPIO_InitStruct.Pull = GPIO_NOPULL;
  GPIO_InitStruct.Speed = GPIO_SPEED_FREQ_LOW;
  HAL_GPIO_Init(RESET_BUTTON_GPIO_Port, &GPIO_InitStruct);

  /*Configure GPIO pins : BUZZER_SEL_Pin RELAY_SEL_Pin END_REG2_Pin CSP_1DE_Pin
                           DEV_ENABLE_OUT_Pin */
  GPIO_InitStruct.Pin = BUZZER_SEL_Pin|RELAY_SEL_Pin|END_REG2_Pin|CSP_1DE_Pin
                          |DEV_ENABLE_OUT_Pin;
  GPIO_InitStruct.Mode = GPIO_MODE_OUTPUT_PP;
  GPIO_InitStruct.Pull = GPIO_NOPULL;
  GPIO_InitStruct.Speed = GPIO_SPEED_FREQ_LOW;
  HAL_GPIO_Init(GPIOC, &GPIO_InitStruct);

  /*Configure GPIO pins : END_REG1_Pin BUFFER_OE_Pin */
  GPIO_InitStruct.Pin = END_REG1_Pin|BUFFER_OE_Pin;
  GPIO_InitStruct.Mode = GPIO_MODE_OUTPUT_PP;
  GPIO_InitStruct.Pull = GPIO_NOPULL;
  GPIO_InitStruct.Speed = GPIO_SPEED_FREQ_LOW;
  HAL_GPIO_Init(GPIOA, &GPIO_InitStruct);

  /*Configure GPIO pins : CSP_2DE_Pin SLAVE_DEBUGE_Pin RS485_EN_Pin */
  GPIO_InitStruct.Pin = CSP_2DE_Pin|SLAVE_DEBUGE_Pin|RS485_EN_Pin;
  GPIO_InitStruct.Mode = GPIO_MODE_OUTPUT_PP;
  GPIO_InitStruct.Pull = GPIO_NOPULL;
  GPIO_InitStruct.Speed = GPIO_SPEED_FREQ_LOW;
  HAL_GPIO_Init(GPIOB, &GPIO_InitStruct);

  /*Configure GPIO pins : SLAVE_OE1_Pin UART_EN_BT_Pin UART_EN_SLOT_Pin */
  GPIO_InitStruct.Pin = SLAVE_OE1_Pin|UART_EN_BT_Pin|UART_EN_SLOT_Pin;
  GPIO_InitStruct.Mode = GPIO_MODE_OUTPUT_OD;
  GPIO_InitStruct.Pull = GPIO_PULLUP;
  GPIO_InitStruct.Speed = GPIO_SPEED_FREQ_VERY_HIGH;
  HAL_GPIO_Init(GPIOE, &GPIO_InitStruct);

  /*Configure GPIO pins : DIGI2_ENABLE_Pin DIGI1_ENABLE_Pin */
  GPIO_InitStruct.Pin = DIGI2_ENABLE_Pin|DIGI1_ENABLE_Pin;
  GPIO_InitStruct.Mode = GPIO_MODE_OUTPUT_OD;
  GPIO_InitStruct.Pull = GPIO_NOPULL;
  GPIO_InitStruct.Speed = GPIO_SPEED_FREQ_LOW;
  HAL_GPIO_Init(GPIOE, &GPIO_InitStruct);

  /*Configure GPIO pins : DIGI2_SCL_Pin DIGI2_SDA_Pin */
  GPIO_InitStruct.Pin = DIGI2_SCL_Pin|DIGI2_SDA_Pin;
  GPIO_InitStruct.Mode = GPIO_MODE_OUTPUT_PP;
  GPIO_InitStruct.Pull = GPIO_PULLUP;
  GPIO_InitStruct.Speed = GPIO_SPEED_FREQ_LOW;
  HAL_GPIO_Init(GPIOB, &GPIO_InitStruct);

  /*Configure GPIO pins : SLAVE_CS5_Pin SLAVE_CS4_Pin */
  GPIO_InitStruct.Pin = SLAVE_CS5_Pin|SLAVE_CS4_Pin;
  GPIO_InitStruct.Mode = GPIO_MODE_OUTPUT_PP;
  GPIO_InitStruct.Pull = GPIO_NOPULL;
  GPIO_InitStruct.Speed = GPIO_SPEED_FREQ_VERY_HIGH;
  HAL_GPIO_Init(GPIOB, &GPIO_InitStruct);

  /*Configure GPIO pins : SLAVE_CS0_Pin SLAVE_CS1_Pin SLAVE_CS2_Pin SLAVE_CS3_Pin */
  GPIO_InitStruct.Pin = SLAVE_CS0_Pin|SLAVE_CS1_Pin|SLAVE_CS2_Pin|SLAVE_CS3_Pin;
  GPIO_InitStruct.Mode = GPIO_MODE_OUTPUT_PP;
  GPIO_InitStruct.Pull = GPIO_NOPULL;
  GPIO_InitStruct.Speed = GPIO_SPEED_FREQ_VERY_HIGH;
  HAL_GPIO_Init(GPIOD, &GPIO_InitStruct);

  /*Configure GPIO pins : SLAVE_OE_Pin SDIO_POWER_Pin */
  GPIO_InitStruct.Pin = SLAVE_OE_Pin|SDIO_POWER_Pin;
  GPIO_InitStruct.Mode = GPIO_MODE_OUTPUT_OD;
  GPIO_InitStruct.Pull = GPIO_PULLUP;
  GPIO_InitStruct.Speed = GPIO_SPEED_FREQ_VERY_HIGH;
  HAL_GPIO_Init(GPIOD, &GPIO_InitStruct);

  /*Configure GPIO pins : DEV_DEBUGE_Pin MCU1_MCU2_CHECK_Pin SDIO_DECTECT_Pin */
  GPIO_InitStruct.Pin = DEV_DEBUGE_Pin|MCU1_MCU2_CHECK_Pin|SDIO_DECTECT_Pin;
  GPIO_InitStruct.Mode = GPIO_MODE_INPUT;
  GPIO_InitStruct.Pull = GPIO_NOPULL;
  HAL_GPIO_Init(GPIOD, &GPIO_InitStruct);

  /*Configure GPIO pins : DEV_BEAT_OUT_Pin BLUETOOTH_FACTORY_RESET_Pin BLUETOOTH_MODE_Pin */
  GPIO_InitStruct.Pin = DEV_BEAT_OUT_Pin|BLUETOOTH_FACTORY_RESET_Pin|BLUETOOTH_MODE_Pin;
  GPIO_InitStruct.Mode = GPIO_MODE_OUTPUT_PP;
  GPIO_InitStruct.Pull = GPIO_NOPULL;
  GPIO_InitStruct.Speed = GPIO_SPEED_FREQ_LOW;
  HAL_GPIO_Init(GPIOD, &GPIO_InitStruct);

  /*Configure GPIO pin : DEV_BEAT_IN_Pin */
  GPIO_InitStruct.Pin = DEV_BEAT_IN_Pin;
  GPIO_InitStruct.Mode = GPIO_MODE_INPUT;
  GPIO_InitStruct.Pull = GPIO_NOPULL;
  HAL_GPIO_Init(DEV_BEAT_IN_GPIO_Port, &GPIO_InitStruct);

  /*Configure GPIO pins : SMPS2_DECTECT_Pin SMPS1_DECTECT_Pin */
  GPIO_InitStruct.Pin = SMPS2_DECTECT_Pin|SMPS1_DECTECT_Pin;
  GPIO_InitStruct.Mode = GPIO_MODE_INPUT;
  GPIO_InitStruct.Pull = GPIO_NOPULL;
  HAL_GPIO_Init(GPIOA, &GPIO_InitStruct);

  /*Configure GPIO pins : DIGI1_SCL_Pin DIGI1_SDA_Pin */
  GPIO_InitStruct.Pin = DIGI1_SCL_Pin|DIGI1_SDA_Pin;
  GPIO_InitStruct.Mode = GPIO_MODE_OUTPUT_OD;
  GPIO_InitStruct.Pull = GPIO_PULLUP;
  GPIO_InitStruct.Speed = GPIO_SPEED_FREQ_LOW;
  HAL_GPIO_Init(GPIOB, &GPIO_InitStruct);

  /* EXTI interrupt init*/
  HAL_NVIC_SetPriority(EXTI4_IRQn, 6, 0);
  HAL_NVIC_EnableIRQ(EXTI4_IRQn);

  HAL_NVIC_SetPriority(EXTI9_5_IRQn, 6, 0);
  HAL_NVIC_EnableIRQ(EXTI9_5_IRQn);

}

/* USER CODE BEGIN 4 */
void HAL_GPIO_EXTI_Callback(uint16_t GPIO_Pin)
{
    switch (GPIO_Pin) {
    case MODE_BUTTON_Pin:
        osSemaphoreRelease(myBinarySemModeHandle);
        break;
    case UP_BUTTON_Pin:
        osSemaphoreRelease(myBinarySemUpHandle);
        break;
    case DOWN_BUTTON_Pin:
        osSemaphoreRelease(myBinarySemDownHandle);
        break;
    }
}

/* void hard_fault_handler_c(uint32_t *hardfault_args, uint32_t r4, uint32_t r5, uint32_t r6) */
/* { */
/*     DBG_LOG("\n[Hard Fault]\n"); // After Joseph Yiu */

/*     DBG_LOG("r0 = %08X, r1 = %08X, r2 = %08X, r3 = %08X\n", hardfault_args[0], */
/*             hardfault_args[1], hardfault_args[2], hardfault_args[3]); */
/*     DBG_LOG("r4 = %08X, r5 = %08X, r6 = %08X, sp = %08X\n", r4, r5, r6, */
/*             (unsigned int)&hardfault_args[8]); */
/*     DBG_LOG("r12= %08X, lr = %08X, pc = %08X, psr= %08X\n", hardfault_args[4], */
/*             hardfault_args[5], hardfault_args[6], hardfault_args[7]); */

/*     DBG_LOG("bfar=%08X, cfsr=%08X, hfsr=%08X, dfsr=%08X, afsr=%08X\n", */
/*             *((volatile unsigned int *)(0xE000ED38)), */
/*             *((volatile unsigned int *)(0xE000ED28)), */
/*             *((volatile unsigned int *)(0xE000ED2C)), */
/*             *((volatile unsigned int *)(0xE000ED30)), */
/*             *((volatile unsigned int *)(0xE000ED3C))); */

/*     while (1) */
/*         ; */
/* } */

/* USER CODE END 4 */

void init_task(void const * argument)
{
	app_ctx_init(&ctx);

	osThreadStaticDef(JobTask, job_task, osPriorityNormal, 0, 256,
			JobTaskBuffer, &JobTaskControlBlock);
	osThreadCreate(osThread(JobTask), NULL);

	osThreadStaticDef(IntJobTask, internal_job_task, osPriorityNormal, 0, 256,
			InternalJobTaskBuffer, &InternalJobTaskControlBlock);
	osThreadCreate(osThread(IntJobTask), NULL);

	osThreadStaticDef(FSTask, fs_task, osPriorityBelowNormal, 0, 1024,
			FSTaskBuffer, &FSTaskControlBlock);
	osThreadCreate(osThread(FSTask), NULL);

	osThreadStaticDef(myDisplayTask, StartDisplayTask, osPriorityBelowNormal, 0, 256,
			DisplayTaskBuffer, &DisplayTaskControlBlock);
	osThreadCreate(osThread(myDisplayTask), NULL);

	osThreadStaticDef(IntRxTask, internal_rx_task, osPriorityNormal, 0, 256,
			InternalRxTaskBuffer, &InternalRxTaskControlBlock);
	osThreadCreate(osThread(IntRxTask), NULL);

	osThreadStaticDef(AppTask, app_task, osPriorityBelowNormal, 0, 128,
			AppTaskBuffer, &AppTaskControlBlock);
	osThreadCreate(osThread(AppTask), NULL);

	osThreadStaticDef(ExtRxTask, external_rx_task, osPriorityNormal, 0, 512,
			ExternalRxTaskBuffer, &ExternalRxControlBlock);
	osThreadCreate(osThread(ExtRxTask), NULL);

	osThreadTerminate(init_task_id);
}

void HAL_TIM_PeriodElapsedCallback(TIM_HandleTypeDef *htim)
{
  if (htim->Instance == TIM1) {
    HAL_IncTick();
  }
}

void Error_Handler(void)
{
  while(1)
  {
  }
}

/************************ (C) COPYRIGHT STMicroelectronics *****END OF FILE****/

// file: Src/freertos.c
/* USER CODE BEGIN Header */
/**
  ******************************************************************************
  * File Name          : freertos.c
  * Description        : Code for freertos applications
  ******************************************************************************
  * This notice applies to any and all portions of this file
  * that are not between comment pairs USER CODE BEGIN and
  * USER CODE END. Other portions of this file, whether
  * inserted by the user or by software development tools
  * are owned by their respective copyright owners.
  *
  * Copyright (c) 2019 STMicroelectronics International N.V.
  * All rights reserved.
  *
  * Redistribution and use in source and binary forms, with or without
  * modification, are permitted, provided that the following conditions are met:
  *
  * 1. Redistribution of source code must retain the above copyright notice,
  *    this list of conditions and the following disclaimer.
  * 2. Redistributions in binary form must reproduce the above copyright notice,
  *    this list of conditions and the following disclaimer in the documentation
  *    and/or other materials provided with the distribution.
  * 3. Neither the name of STMicroelectronics nor the names of other
  *    contributors to this software may be used to endorse or promote products
  *    derived from this software without specific written permission.
  * 4. This software, including modifications and/or derivative works of this
  *    software, must execute solely and exclusively on microcontroller or
  *    microprocessor devices manufactured by or for STMicroelectronics.
  * 5. Redistribution and use of this software other than as permitted under
  *    this license is void and will automatically terminate your rights under
  *    this license.
  *
  * THIS SOFTWARE IS PROVIDED BY STMICROELECTRONICS AND CONTRIBUTORS "AS IS"
  * AND ANY EXPRESS, IMPLIED OR STATUTORY WARRANTIES, INCLUDING, BUT NOT
  * LIMITED TO, THE IMPLIED WARRANTIES OF MERCHANTABILITY, FITNESS FOR A
  * PARTICULAR PURPOSE AND NON-INFRINGEMENT OF THIRD PARTY INTELLECTUAL PROPERTY
  * RIGHTS ARE DISCLAIMED TO THE FULLEST EXTENT PERMITTED BY LAW. IN NO EVENT
  * SHALL STMICROELECTRONICS OR CONTRIBUTORS BE LIABLE FOR ANY DIRECT, INDIRECT,
  * INCIDENTAL, SPECIAL, EXEMPLARY, OR CONSEQUENTIAL DAMAGES (INCLUDING, BUT NOT
  * LIMITED TO, PROCUREMENT OF SUBSTITUTE GOODS OR SERVICES; LOSS OF USE, DATA,
  * OR PROFITS; OR BUSINESS INTERRUPTION) HOWEVER CAUSED AND ON ANY THEORY OF
  * LIABILITY, WHETHER IN CONTRACT, STRICT LIABILITY, OR TORT (INCLUDING
  * NEGLIGENCE OR OTHERWISE) ARISING IN ANY WAY OUT OF THE USE OF THIS SOFTWARE,
  * EVEN IF ADVISED OF THE POSSIBILITY OF SUCH DAMAGE.
  *
  ******************************************************************************
  */
/* USER CODE END Header */

#include "FreeRTOS.h"
#include "task.h"
#include "main.h"

/* USER CODE BEGIN Includes */
#include "0_GlobalValue.h"
/* USER CODE END Includes */

/* USER CODE BEGIN Variables */
extern RTC_HandleTypeDef hrtc;
extern IWDG_HandleTypeDef hiwdg;
/* USER CODE END Variables */

/* GetIdleTaskMemory prototype (linked to static allocation support) */
void vApplicationGetIdleTaskMemory( StaticTask_t **ppxIdleTaskTCBBuffer, StackType_t **ppxIdleTaskStackBuffer, uint32_t *pulIdleTaskStackSize );

/* GetTimerTaskMemory prototype (linked to static allocation support) */
void vApplicationGetTimerTaskMemory( StaticTask_t **ppxTimerTaskTCBBuffer, StackType_t **ppxTimerTaskStackBuffer, uint32_t *pulTimerTaskStackSize );

/* Hook prototypes */
void vApplicationIdleHook(void);
void vApplicationTickHook(void);
void vApplicationMallocFailedHook(void);

/* USER CODE BEGIN 2 */
__weak void vApplicationIdleHook( void )
{
   /* vApplicationIdleHook() will only be called if configUSE_IDLE_HOOK is set
   to 1 in FreeRTOSConfig.h. It will be called on each iteration of the idle
   task. It is essential that code added to this hook function never attempts
   to block in any way (for example, call xQueueReceive() with a block time
   specified, or call vTaskDelay()). If the application makes use of the
   vTaskDelete() API function (as this demo application does) then it is also
   important that vApplicationIdleHook() is permitted to return to its calling
   function, because it is the responsibility of the idle task to clean up
   memory allocated by the kernel to any task that has since been deleted. */
    static uint32_t elapsed_tick = 0;

    if (osKernelSysTick() - elapsed_tick > osKernelSysTickMicroSec(200)) {
        elapsed_tick = osKernelSysTick();
        HAL_RTC_GetDate(&hrtc, &SysTime.Date, RTC_FORMAT_BIN);
        HAL_RTC_GetTime(&hrtc, &SysTime.Time, RTC_FORMAT_BIN);
    }

    HAL_IWDG_Refresh(&hiwdg);
}
/* USER CODE END 2 */

/* USER CODE BEGIN 3 */
__weak void vApplicationTickHook( void )
{
   /* This function will be called by each tick interrupt if
   configUSE_TICK_HOOK is set to 1 in FreeRTOSConfig.h. User code can be
   added here, but the tick hook is called from an interrupt context, so
   code must not attempt to block, and only the interrupt safe FreeRTOS API
   functions can be used (those that end in FromISR()). */
}
/* USER CODE END 3 */

/* USER CODE BEGIN 5 */
__weak void vApplicationMallocFailedHook(void)
{
   /* vApplicationMallocFailedHook() will only be called if
   configUSE_MALLOC_FAILED_HOOK is set to 1 in FreeRTOSConfig.h. It is a hook
   function that will get called if a call to pvPortMalloc() fails.
   pvPortMalloc() is called internally by the kernel whenever a task, queue,
   timer or semaphore is created. It is also called by various parts of the
   demo application. If heap_1.c or heap_2.c are used, then the size of the
   heap available to pvPortMalloc() is defined by configTOTAL_HEAP_SIZE in
   FreeRTOSConfig.h, and the xPortGetFreeHeapSize() API function can be used
   to query the size of free heap space that remains (although it does not
   provide information on how the remaining heap might be fragmented). */
}
/* USER CODE END 5 */

/* USER CODE BEGIN GET_IDLE_TASK_MEMORY */
static StaticTask_t xIdleTaskTCBBuffer;
static StackType_t xIdleStack[configMINIMAL_STACK_SIZE];

void vApplicationGetIdleTaskMemory( StaticTask_t **ppxIdleTaskTCBBuffer, StackType_t **ppxIdleTaskStackBuffer, uint32_t *pulIdleTaskStackSize )
{
  *ppxIdleTaskTCBBuffer = &xIdleTaskTCBBuffer;
  *ppxIdleTaskStackBuffer = &xIdleStack[0];
  *pulIdleTaskStackSize = configMINIMAL_STACK_SIZE;
  /* place for user code */
}
/* USER CODE END GET_IDLE_TASK_MEMORY */

/* USER CODE BEGIN GET_TIMER_TASK_MEMORY */
static StaticTask_t xTimerTaskTCBBuffer;
static StackType_t xTimerStack[configTIMER_TASK_STACK_DEPTH];

void vApplicationGetTimerTaskMemory( StaticTask_t **ppxTimerTaskTCBBuffer, StackType_t **ppxTimerTaskStackBuffer, uint32_t *pulTimerTaskStackSize )
{
  *ppxTimerTaskTCBBuffer = &xTimerTaskTCBBuffer;
  *ppxTimerTaskStackBuffer = &xTimerStack[0];
  *pulTimerTaskStackSize = configTIMER_TASK_STACK_DEPTH;
  /* place for user code */
}
/* USER CODE END GET_TIMER_TASK_MEMORY */

/************************ (C) COPYRIGHT STMicroelectronics *****END OF FILE****/
